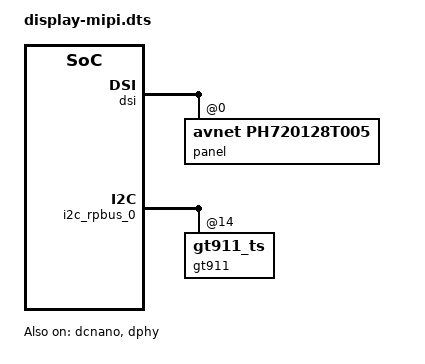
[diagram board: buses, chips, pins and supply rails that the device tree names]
/*
 * Copyright 2022 AVNET
 *
 * This program is free software; you can redistribute it and/or
 * modify it under the terms of the GNU General Public License
 * as published by the Free Software Foundation; either version 2
 * of the License, or (at your option) any later version.
 *
 * This program is distributed in the hope that it will be useful,
 * but WITHOUT ANY WARRANTY; without even the implied warranty of
 * MERCHANTABILITY or FITNESS FOR A PARTICULAR PURPOSE.  See the
 * GNU General Public License for more details.
 */

/dts-v1/;
/plugin/;

/* Device tree overlay for MIPI LCD and touchscreen */

&dcnano {
	status = "okay";
};

&dphy {
	status = "okay";
};

&dsi {
	status = "okay";
	panel@0 {
		compatible = "avnet,ph720128t005", "ilitek,ili9881c";
		//compatible = "avnet,ph720128t003", "ilitek,ili9881c";
	};
};

&i2c_rpbus_0 {
	status = "okay";

	/* touch screen for avnet,ph720128t005 */
	gt911: gt911_ts@14 {
		status = "okay";
	};

	/* touch screen for avnet,ph720128t003 panel */
	ft5426: ft5426_ts@38 {
		status = "disabled";
	};
};
